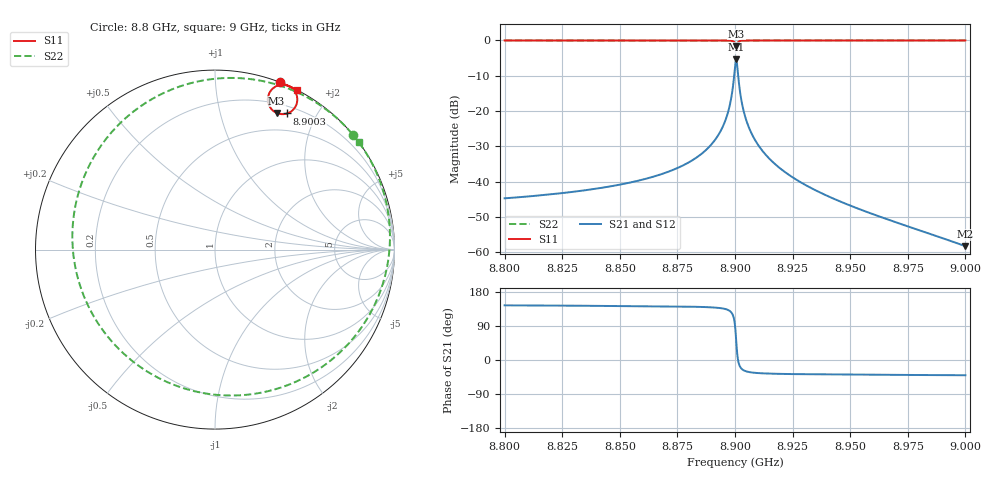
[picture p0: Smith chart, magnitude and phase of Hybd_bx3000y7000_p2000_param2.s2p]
! Sonnet Data File
! From: emgraph Version : 16.52
! From Project: Resonator2
! Data is De-embedded
! Data File Written: 10/05/2017 13:36:36
!< HDATE 10/05/2017 10:48:01
!< MDATE 10/05/2017 10:48:01
!< PARAMS
!< gap = 16.0
!< Length = 400.0
!< Pwid1 = 2000.0
!< Pwid2 = 2000.0
!< END PARAMS
# GHZ S MA R 50.00000
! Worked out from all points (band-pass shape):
!   1595 points, 8.8 GHz to 9 GHz, reference 50 ohm
!   highest |S21| = -5.36 dB at 8.9005 GHz (marker M1); lowest = -58.3 dB at 9 GHz (marker M2)
!   |S21| within 3 dB of the highest: 8.899884 GHz to 8.901131 GHz (1.247 MHz wide, 0.014 % of centre)
!   lowest |S11| = -1.6 dB at 8.9005 GHz (marker M3), VSWR 11.15, Z = 14.9 + j75.3 ohm
!   |S11| at or under -10 dB: nowhere
!   |S22| runs from -2.3 to 0.0 dB; largest |S21 - S12| = 0
!   S11 on the Smith chart (normalised r, x): 8.8 GHz: 0.00, +1.46; 8.9003 GHz: 0.28, +1.63; 9 GHz: 0.00, +1.64
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8.8  1 68.6  0.005793 144.2  0.005793 144.2  1 39.8
!< P1 F=8.8 Eeff=(6.44679989 -2.9721e-5) Z0=(51.7992624 1.19519e-4) R=0.0 C=0.0
!< P2 F=8.8 Eeff=(5.36817953 -2.3731e-5) Z0=(35.9853883 8.0522e-5) R=0.0 C=0.0
8.8334  1 67.6  0.007422 143.2  0.007422 143.2  1 38.8
8.8668  0.9999 66.5  0.01236 141.8  0.01236 141.8  0.9999 37.1
8.885997  0.9997 65.7  0.02555 139.9  0.02555 139.9  0.9996 34.2
8.8954  0.9976 64.7  0.0678 135.1  0.0678 135.1  0.9968 26.0
8.898562  0.9854 63.0  0.1669 124.3  0.1669 124.3  0.9805 6.6
8.899532  0.9547 61.3  0.2921 109.5  0.2921 109.5  0.9386 -20.4
8.9  0.9045 60.7  0.4187 91.4  0.4187 91.4  0.869 -55.6
8.900268  0.8586 62.1  0.5033 73.4  0.5033 73.4  0.8036 -93.4
8.90051  0.8354 65.7  0.5398 52.3  0.5398 52.3  0.7696 -141.2
8.900514  0.8354 65.8  0.5398 51.9  0.5398 51.9  0.7697 -142.1
8.900732  0.8553 69.2  0.5087 32.7  0.5087 32.7  0.7985 174.4
8.901016  0.9043 70.9  0.4191 13.2  0.4191 13.2  0.8682 133.1
8.901273  0.9377 70.7  0.3412 1.4  0.3412 1.4  0.9147 110.0
8.901709  0.9676 69.7  0.248 -10.4  0.248 -10.4  0.9558 87.7
8.902431  0.9858 68.5  0.165 -20.0  0.165 -20.0  0.9806 70.3
8.903241  0.9927 67.7  0.1183 -25.2  0.1183 -25.2  0.99 61.1
8.906408  0.9984 66.5  0.05463 -32.1  0.05463 -32.1  0.9979 48.8
8.915807  0.9998 65.7  0.01976 -36.1  0.01976 -36.1  0.9997 42.0
8.9334  1 64.9  0.007993 -37.8  0.007993 -37.8  0.9999 39.4
8.9668  1 63.9  0.00287 -39.2  0.00287 -39.2  1 37.7
9  1 62.8  0.001216 -40.2  0.001216 -40.2  1 36.6
